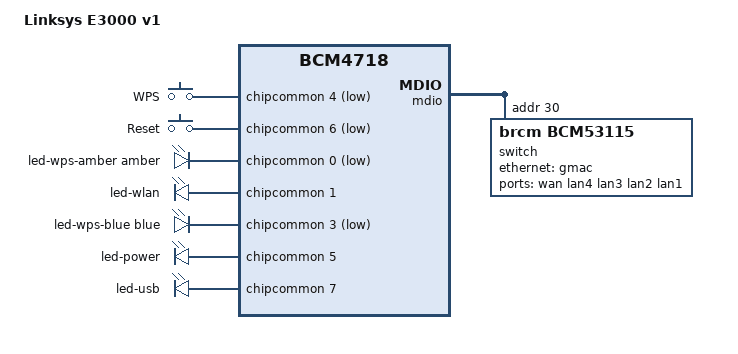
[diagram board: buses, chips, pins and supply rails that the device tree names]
// SPDX-License-Identifier: GPL-2.0-or-later OR MIT

/dts-v1/;

#include <dt-bindings/gpio/gpio.h>
#include <dt-bindings/input/input.h>
#include <dt-bindings/leds/common.h>

#include "bcm4718.dtsi"

/ {
	compatible = "linksys,e3000-v1", "brcm,bcm4718";
	model = "Linksys E3000 v1";

	aliases {
		serial0 = &uart0;
	};

	chosen {
		stdout-path = "serial0:115200n8";
	};

	keys {
		compatible = "gpio-keys";

		button-wps {
			label = "WPS";
			linux,code = <KEY_WPS_BUTTON>;
			gpios = <&chipcommon 4 GPIO_ACTIVE_LOW>;
		};

		button-restart {
			label = "Reset";
			linux,code = <KEY_RESTART>;
			gpios = <&chipcommon 6 GPIO_ACTIVE_LOW>;
		};
	};

	leds {
		compatible = "gpio-leds";

		led-wps-amber {
			color = <LED_COLOR_ID_AMBER>;
			function = LED_FUNCTION_WPS;
			gpios = <&chipcommon 0 GPIO_ACTIVE_LOW>;
		};

		led-wlan {
			function = LED_FUNCTION_WLAN;
			gpios = <&chipcommon 1 GPIO_ACTIVE_HIGH>;
		};

		led-wps-blue {
			color = <LED_COLOR_ID_BLUE>;
			function = LED_FUNCTION_WPS;
			gpios = <&chipcommon 3 GPIO_ACTIVE_LOW>;
		};

		led-power {
			function = LED_FUNCTION_POWER;
			gpios = <&chipcommon 5 GPIO_ACTIVE_HIGH>;
			default-state = "on";
		};

		led-usb {
			function = LED_FUNCTION_USB;
			gpios = <&chipcommon 7 GPIO_ACTIVE_HIGH>;
		};
	};
};

&mdio {
	switch@1e {
		compatible = "brcm,bcm53115";
		reg = <0x1e>;

		ports {
			#address-cells = <1>;
			#size-cells = <0>;

			port@0 {
				reg = <0>;
				label = "wan";
			};

			port@1 {
				reg = <1>;
				label = "lan4";
			};

			port@2 {
				reg = <2>;
				label = "lan3";
			};

			port@3 {
				reg = <3>;
				label = "lan2";
			};

			port@4 {
				reg = <4>;
				label = "lan1";
			};

			port@8 {
				reg = <8>;
				ethernet = <&gmac>;
				phy-mode = "rgmii-id";

				fixed-link {
					speed = <1000>;
					full-duplex;
				};
			};
		};
	};
};
